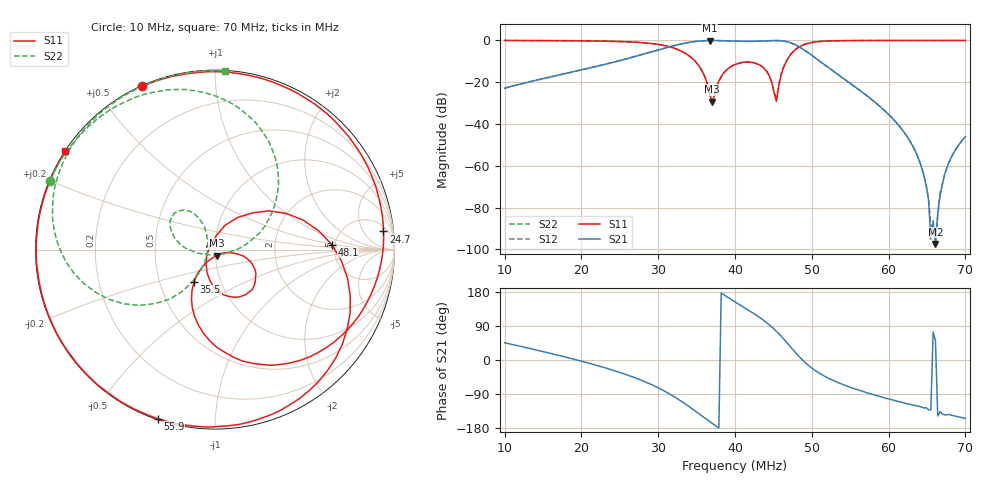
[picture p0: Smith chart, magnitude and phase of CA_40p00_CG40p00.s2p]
#  HZ  S  RI  R  50.00
! Rohde & Schwarz ZVT8 8Ports - Version 4.11 - 1300.0000k08 SN: 100242
! Date: 2026-07-31 14:52:38
! Measurements: S11 S21 S12 S22
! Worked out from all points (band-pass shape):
!   201 points, 10 MHz to 70 MHz, reference 50 ohm
!   highest |S21| = -0.04 dB at 36.7 MHz (marker M1); lowest = -97.4 dB at 66.1 MHz (marker M2)
!   |S21| within 3 dB of the highest: 31.49 MHz to 48.34 MHz (16.85 MHz wide, 42.2 % of centre)
!   lowest |S11| = -29.2 dB at 37 MHz (marker M3), VSWR 1.07, Z = 50.9 - j3.36 ohm
!   |S11| at or under -10 dB: 34.83 MHz to 46.7 MHz (11.87 MHz wide, 29.1 % of centre)
!   |S22| runs from -30.5 to 0.0 dB; largest |S21 - S12| = 0.0034
!   S11 on the Smith chart (normalised r, x): 10 MHz: 0.00, +0.65; 24.7 MHz: 8, +14; 35.5 MHz: 0.74, -0.28; 48.1 MHz: 4.69, +0.46; 55.9 MHz: 0.00, -0.72; 70 MHz: 0.00, +0.30
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1e7  -0.4071 0.9092  0.0503 0.0512  0.0502 0.0513  -0.9193 0.3835
2.02e7  0.7201 0.6581  0.2007 -0.0145  0.2001 -0.0145  -0.6231 0.751
2.47e7  0.9384 0.1014  0.2734 -0.1641  0.273 -0.1621  -0.3629 0.8714
3.01e7  0.5305 -0.5959  0.161 -0.5757  0.1622 -0.5755  0.1379 0.7856
3.31e7  0.0094 -0.544  -0.2841 -0.7835  -0.2847 -0.7819  0.3523 0.4142
3.55e7  -0.1168 -0.1811  -0.7924 -0.5616  -0.7915 -0.5608  0.208 0.0572
3.67e7  -0.0204 -0.0504  -0.9484 -0.3019  -0.9457 -0.3017  0.0487 -0.0236
3.7e7  0.0101 -0.033  -0.9681 -0.229  -0.9677 -0.2298  0.00633 -0.029
3.82e7  0.1328 -0.0267  -0.985 0.0562  -0.9841 0.0573  -0.1334 -0.00453
4e7  0.2282 -0.1343  -0.8588 0.4288  -0.858 0.4289  -0.2426 0.1025
4.36e7  0.013 -0.231  -0.2767 0.9275  -0.2766 0.9261  -0.1162 0.2011
4.54e7  -0.0235 0.0254  0.2465 0.9595  0.2461 0.9611  -0.0426 -0.0106
4.63e7  0.1258 0.1789  0.5351 0.8053  0.5349 0.803  -0.1281 -0.1824
4.81e7  0.6511 0.0281  0.7233 0.185  0.7213 0.1848  -0.5926 -0.2766
5.02e7  0.6725 -0.6039  0.3763 -0.1691  0.3765 -0.1681  -0.8976 0.1164
5.59e7  -0.32 -0.942  0.0146 -0.0699  0.0145 -0.0698  -0.6593 0.7431
6.01e7  -0.7948 -0.5995  -0.00367 -0.0158  -0.00368 -0.0158  -0.4265 0.9006
6.34e7  -0.9717 -0.2191  -0.0012 -0.0021  -0.00121 -0.00209  -0.2569 0.9639
6.55e7  -0.9959 0.0371  -1.17e-05 -1.3e-05  -1.88e-05 -3.43e-05  -0.1544 0.9839
6.61e7  -0.989 0.1112  8.3e-06 1.06e-05  -9.35e-06 7.37e-06  -0.1242 0.9888
6.79e7  -0.9426 0.3217  -0.00101 -0.000743  -0.00104 -0.000709  -0.0398 0.9954
7e7  -0.8333 0.547  -0.00447 -0.00218  -0.00442 -0.00215  0.0569 0.9953
